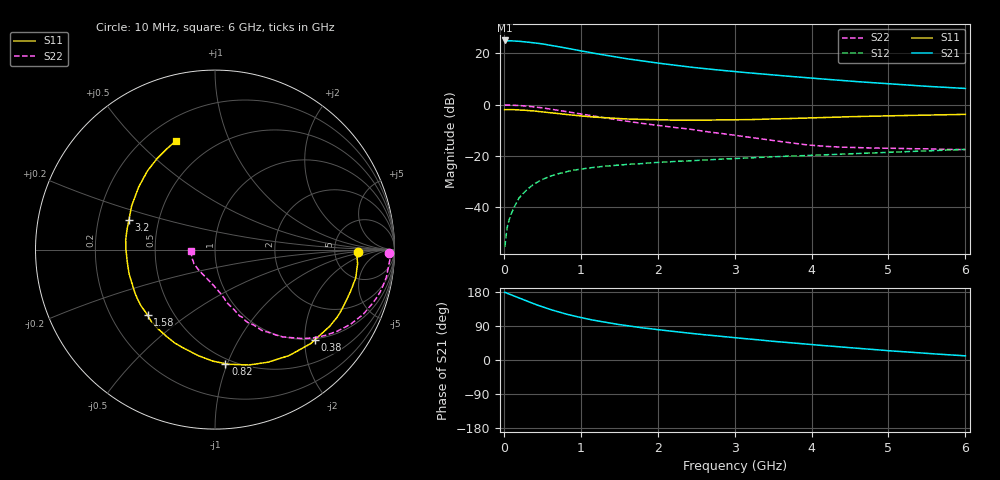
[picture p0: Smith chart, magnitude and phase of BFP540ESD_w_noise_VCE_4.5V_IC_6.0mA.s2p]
! Infineon Technologies  Discrete & RF Semiconductors
! BFP540ESD
! VCE =  4.5 V,  IC =  6.0 mA
! Common Emitter S-Parameters:  Nov 2015
# GHz  S  MA  R  50
!  f  S11  S21  S12  S22
! GHz  MAG  ANG  MAG  ANG  MAG  ANG  MAG  ANG
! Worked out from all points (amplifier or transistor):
!   210 points, 10 MHz to 6 GHz, reference 50 ohm
!   highest |S21| = 25.1 dB at 10 MHz (marker M1)
!   |S21| within 3 dB of that: start of sweep to 813.4 MHz
!   unconditionally stable (mu >= 1): start of sweep to 12.18 MHz; 3.148 GHz to end of sweep
!   at 185 MHz: K = 0.16, MSG = 31.0 dB, |S12| = -37.2 dB
!   at 1.52 GHz: K = 0.55, MSG = 21.0 dB, |S12| = -23.6 dB
!   at 6 GHz: K = 1.20, MAG = 9.2 dB, |S12| = -17.5 dB
!   lowest NFmin = 0.73 dB at 900 MHz
!   S11 on the Smith chart (normalised r, x): 10 MHz: 8.69, -0.59; 380 MHz: 0.97, -2.23; 820 MHz: 0.46, -0.98; 1.58 GHz: 0.36, -0.36; 3.2 GHz: 0.33, +0.15; 6 GHz: 0.32, +0.65
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0.01  0.7944 -0.9  17.91 178.5  0.0017 25.2  0.9669 -1.2
0.02  0.7911 -2.5  17.68 178.2  0.002 64.0  0.9793 -1.2
0.055  0.7982 -6.3  17.67 175.1  0.0047 66.0  0.9761 -3.3
0.165  0.7873 -18.8  17.41 166.2  0.0121 75.0  0.9639 -10.0
0.3  0.7689 -33.7  16.73 155.2  0.0216 71.6  0.9322 -18.0
0.38  0.7497 -42.2  16.17 149.1  0.027 69.0  0.9067 -22.5
0.5  0.7205 -55.0  15.36 140.2  0.0342 64.4  0.8616 -28.9
0.6  0.6933 -64.8  14.46 133.4  0.0395 60.5  0.8191 -33.7
0.7  0.6699 -73.7  13.65 127.6  0.0441 57.3  0.7773 -38.0
0.82  0.6381 -84.8  12.62 120.7  0.0487 53.6  0.7244 -42.9
1.02  0.5935 -100.3  11.09 111.2  0.055 48.7  0.645 -49.5
1.2  0.5665 -113.4  9.891 103.7  0.0595 45.1  0.5828 -54.6
1.4  0.5433 -125.9  8.809 96.9  0.0637 42.1  0.522 -59.8
1.58  0.5241 -135.8  7.944 91.3  0.0672 39.6  0.4761 -62.6
1.8  0.5122 -147.3  7.093 84.9  0.0701 37.7  0.429 -67.0
2.02  0.5001 -157.4  6.418 79.5  0.0741 36.2  0.3887 -70.0
2.6  0.4966 179.9  5.052 66.7  0.0824 32.9  0.2985 -77.8
3.1  0.5045 163.9  4.276 57.0  0.0893 30.8  0.2394 -83.9
3.2  0.5075 161.0  4.148 55.3  0.0907 30.3  0.2286 -85.8
4.1  0.5542 138.6  3.197 39.0  0.1029 26.1  0.1554 -114.0
5.1  0.6052 120.9  2.492 23.2  0.1176 21.4  0.1391 -149.3
6  0.6423 109.9  2.064 10.9  0.1326 17.5  0.1317 -175.9
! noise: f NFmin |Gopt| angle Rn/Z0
0.9  0.73  0.05  38  0.12
1.8  0.95  0.08  153  0.11
2.4  0.97  0.09  154  0.1
3  1.1  0.19  178  0.09
4  1.28  0.3  -122  0.14
5  1.5  0.42  -99  0.29
6  1.73  0.51  -100  0.43
